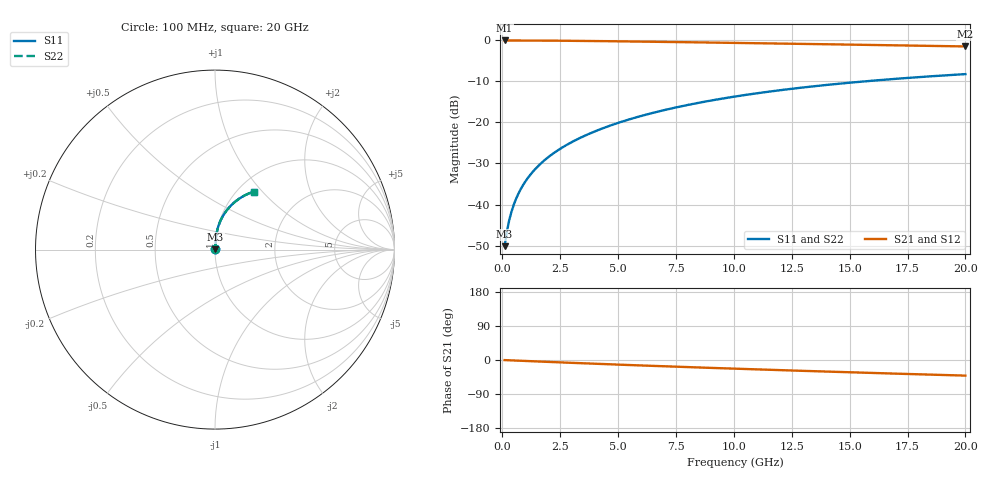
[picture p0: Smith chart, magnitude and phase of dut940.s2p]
! Touchstone file exported from HFSS 2024.1.0
!  File:  C:/UserFiles/LocalFiles/RDL_TSV_Batchsim/temp_RDL_top_940_1779937471.aedt
!  Generated:  11:07:35 AM May 28, 2026
!  Design:  RDL_top
!  Project:  temp_RDL_top_940_1779937471
!  Setup:  Setup1
!  Solution:  Sweep
! Variables:
!  dtsv = 10.80580581um
!  hbump = 3um
!  htsv = 51.5um
!  ldown = 100um
!  lrdl = 576.06um
!  p = 40
!  p1 = 55.08um
!  rhole = 1um
!  t = 450um
!  tdown = 3.915915916um
!  trdl = 4.21um
!  wdown = 15.38538539um
!  wrdl = 22.43um
# GHz S MA R 50.000000
! Terminal data exported
! Port[1] = Box2_T1
! Port[2] = Box2_T2
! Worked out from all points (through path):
!   200 points, 100 MHz to 20 GHz, reference 50 ohm
!   highest |S21| = -0.02 dB at 100 MHz (marker M1); lowest = -1.5 dB at 20 GHz (marker M2)
!   group delay of S21, straight-line fit = 5.66 ps
!   lowest |S11| = -50.1 dB at 100 MHz (marker M3), VSWR 1.01, Z = 50.2 + j0.206 ohm
!   |S11| at or under -10 dB: start of sweep to 15.62 GHz
!   |S22| runs from -50.1 to -8.2 dB; largest |S21 - S12| = 4.4e-15
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0.1  0.00311 41.3  0.9977 -0.3  0.9977 -0.3  0.00311 41.3
! Gamma 0 0 0 0
! Port Impedance 50 0 50 0
0.2  0.004721 58.5  0.9975 -0.5  0.9975 -0.5  0.004721 58.5
0.3  0.006468 66.4  0.9973 -0.8  0.9973 -0.8  0.006468 66.4
0.4  0.00824 70.9  0.9971 -1.0  0.9971 -1.0  0.00824 70.9
0.5  0.01003 74.0  0.997 -1.3  0.997 -1.3  0.01003 74.0
0.6  0.01183 76.2  0.9968 -1.5  0.9968 -1.5  0.01183 76.2
0.8  0.01547 79.1  0.9964 -2.0  0.9964 -2.0  0.01547 79.1
1.1  0.02102 81.7  0.9958 -2.8  0.9958 -2.8  0.02102 81.7
1.5  0.02852 83.5  0.9946 -3.8  0.9946 -3.8  0.02852 83.5
1.8  0.03422 84.2  0.9935 -4.6  0.9935 -4.6  0.03422 84.2
2.1  0.03999 84.7  0.9923 -5.3  0.9923 -5.3  0.03999 84.7
2.7  0.05169 85.2  0.9894 -6.8  0.9894 -6.8  0.05169 85.2
3.5  0.06768 85.2  0.9847 -8.7  0.9847 -8.7  0.06768 85.2
4.2  0.08201 84.7  0.98 -10.4  0.98 -10.4  0.08201 84.7
5  0.09873 84.0  0.9741 -12.2  0.9741 -12.2  0.09873 84.0
6.8  0.1373 81.4  0.9597 -16.2  0.9597 -16.2  0.1373 81.4
8.4  0.1718 78.6  0.9462 -19.6  0.9462 -19.6  0.1718 78.6
10.1  0.208 75.3  0.9314 -23.0  0.9314 -23.0  0.208 75.3
11.7  0.2411 72.1  0.9174 -26.2  0.9174 -26.2  0.2411 72.1
13.4  0.2748 68.7  0.9023 -29.4  0.9023 -29.4  0.2748 68.7
16.7  0.3351 62.3  0.8729 -35.5  0.8729 -35.5  0.3351 62.3
20  0.3881 56.3  0.8435 -41.2  0.8435 -41.2  0.3881 56.3
